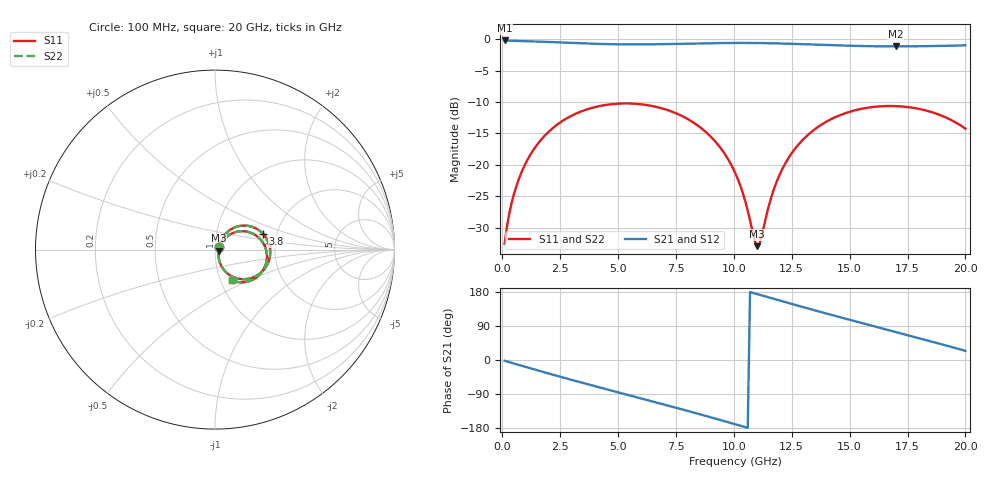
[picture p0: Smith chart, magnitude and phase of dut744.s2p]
! Touchstone file exported from HFSS 2026.1.0
!  File:  C:/ffzhzh/LocalFiles/Ansys_Project_Files/temp_train_TSV_RDL_744_1783204893_51560.aedt
!  Generated:  06:54:05 AM Jul  5, 2026
!  Design:  TSV_RDL
!  Project:  temp_train_TSV_RDL_744_1783204893_51560
! Variables:
!  h_bsmrdl = 5.93um
!  h_ox = 20um
!  h_rdl = 5um
!  h_sub = 56um
!  h_tmrdl = 3.89um
!  h_tsv = 56um
!  h_via = 3um
!  l_bsmrdl = 471.09um
!  l_sub = 5830.81um
!  l_tmrdl = 972.42um
!  m_sub = 200um
!  pitch = 39.85um
!  r_tsv = 14.1um
!  s_tmrdl = 10um
!  w_bsmrdl = 12.66um
!  w_sub = 500um
!  w_tmrdl = 29.96um
!  x_tsv_center1 = 987.4um
!  x_tsv_center2 = 1471.15um
!  x_tsv_center3 = 2473.53um
!  x_tsv_center4 = 2957.28um
!  x_tsv_center5 = 3959.66um
!  x_tsv_center6 = 4443.41um
# GHz S MA R 50.000000
! Terminal data exported
! Port[1] = TM_RDL1_1_T1
! Port[2] = TM_RDL5_1_T1
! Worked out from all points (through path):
!   200 points, 100 MHz to 20 GHz, reference 50 ohm
!   highest |S21| = -0.18 dB at 100 MHz (marker M1); lowest = -1.1 dB at 17 GHz (marker M2)
!   group delay of S21, straight-line fit = 46.6 ps
!   lowest |S11| = -33.0 dB at 11 GHz (marker M3), VSWR 1.05, Z = 52.2 - j0.659 ohm
!   |S11| at or under -10 dB: start of sweep to end of sweep
!   |S22| runs from -33.1 to -10.2 dB; largest |S21 - S12| = 2.2e-13
!   S11 on the Smith chart (normalised r, x): 100 MHz: 1.04, +0.02; 3.8 GHz: 1.69, +0.32; 20 GHz: 1.13, -0.40
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0.1  0.02354 30.2  0.98 -2.0  0.98 -2.0  0.02354 30.2
! Gamma 0 0 0 0
! Port Impedance 50 0 50 0
0.3  0.04078 49.6  0.9762 -5.6  0.9762 -5.6  0.04078 49.6
0.5  0.05823 55.2  0.9735 -9.2  0.9735 -9.2  0.05823 55.2
1.2  0.1194 54.8  0.9649 -21.6  0.9649 -21.6  0.1194 54.8
2.2  0.1977 42.3  0.9494 -39.0  0.9494 -39.0  0.1977 42.3
3.5  0.2705 22.7  0.9284 -60.8  0.9284 -60.8  0.2705 22.7
3.8  0.2819 18.2  0.9243 -65.8  0.9243 -65.8  0.2819 18.1
5.3  0.3085 -4.6  0.9123 -90.0  0.9123 -90.0  0.3085 -4.7
6.8  0.285 -27.3  0.9149 -114.3  0.9149 -114.3  0.2851 -27.3
8.8  0.1821 -56.6  0.9303 -147.8  0.9303 -147.8  0.1821 -56.7
10.1  0.08269 -69.5  0.9364 -170.3  0.9364 -170.3  0.08266 -69.7
11  0.02248 -16.3  0.935 174.0  0.935 174.0  0.02224 -16.4
11.1  0.02322 3.7  0.9345 172.3  0.9345 172.3  0.02297 3.8
11.6  0.0539 45.2  0.9311 163.5  0.9311 163.5  0.05376 45.5
12  0.08523 47.9  0.9274 156.6  0.9274 156.6  0.08513 48.1
12.6  0.1312 43.4  0.9204 146.2  0.9204 146.2  0.1311 43.6
13.4  0.1862 33.5  0.9097 132.6  0.9097 132.6  0.1861 33.6
15  0.2646 10.6  0.8895 106.1  0.8895 106.1  0.2645 10.7
16.7  0.2944 -14.3  0.879 78.6  0.879 78.6  0.2943 -14.2
17  0.2938 -18.7  0.8788 73.8  0.8788 73.8  0.2937 -18.6
18.5  0.2644 -40.6  0.884 49.4  0.884 49.4  0.2644 -40.4
20  0.1942 -61.5  0.8954 24.2  0.8954 24.2  0.1942 -61.3
